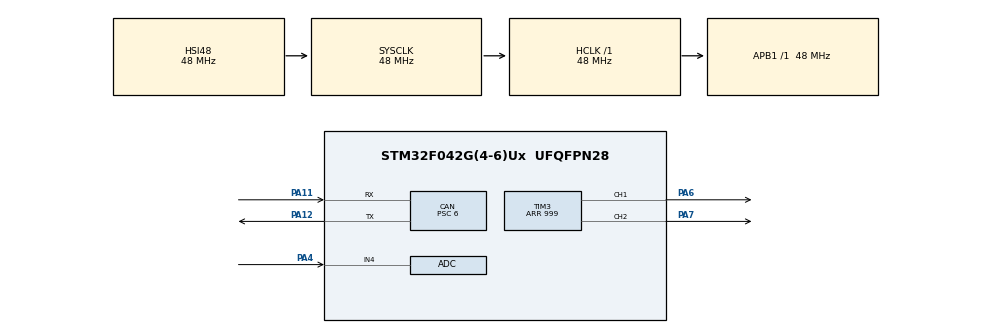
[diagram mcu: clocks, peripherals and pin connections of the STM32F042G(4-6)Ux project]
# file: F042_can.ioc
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ADC.ContinuousConvMode=ENABLE
CAN.ABOM=ENABLE
CAN.AWUM=ENABLE
CAN.BS1=CAN_BS1_13TQ
CAN.BS2=CAN_BS2_2TQ
CAN.CalculateBaudRate=500000
CAN.CalculateTimeBit=2000
CAN.CalculateTimeQuantum=125.0
CAN.Prescaler=6
Dma.ADC.0.Direction=DMA_PERIPH_TO_MEMORY
Dma.ADC.0.Instance=DMA1_Channel1
Dma.ADC.0.MemDataAlignment=DMA_MDATAALIGN_HALFWORD
Dma.ADC.0.MemInc=DMA_MINC_ENABLE
Dma.ADC.0.Mode=DMA_CIRCULAR
Dma.ADC.0.PeriphDataAlignment=DMA_PDATAALIGN_HALFWORD
Dma.ADC.0.PeriphInc=DMA_PINC_DISABLE
Dma.ADC.0.Priority=DMA_PRIORITY_LOW
Dma.Request0=ADC
Mcu.Family=STM32F0
Mcu.Name=STM32F042G(4-6)Ux
Mcu.Package=UFQFPN28
NVIC.ADC1_IRQn=true\:1\:0\:true\:false\:true\:true\:true\:true
NVIC.CEC_CAN_IRQn=true\:3\:0\:true\:false\:true\:true\:true\:true
NVIC.DMA1_Channel1_IRQn=true\:0\:0\:false\:false\:true\:false\:true\:true
NVIC.TIM17_IRQn=true\:3\:0\:true\:false\:true\:false\:true\:true
NVIC.TIM2_IRQn=true\:1\:0\:true\:false\:true\:true\:true\:true
NVIC.TimeBase=TIM17_IRQn
NVIC.TimeBaseIP=TIM17
PA11.Mode=CAN_Activate
PA11.Signal=CAN_RX
PA12.Mode=CAN_Activate
PA12.Signal=CAN_TX
PA13.Mode=Serial_Wire
PA13.Signal=SYS_SWDIO
PA14.Mode=Serial_Wire
PA14.Signal=SYS_SWCLK
PA4.Mode=IN4
PA4.Signal=ADC_IN4
PA6.Signal=S_TIM3_CH1
PA7.Signal=S_TIM3_CH2
ProjectManager.HeapSize=0x200
ProjectManager.StackSize=0x400
ProjectManager.TargetToolchain=MDK-ARM V5.32
RCC.AHBFreq_Value=48000000
RCC.APB1Freq_Value=48000000
RCC.APB1TimFreq_Value=48000000
RCC.HCLKFreq_Value=48000000
RCC.SYSCLKFreq_VALUE=48000000
RCC.SYSCLKSource=RCC_SYSCLKSOURCE_HSI48
SH.S_TIM3_CH1.0=TIM3_CH1,PWM Generation1 CH1
SH.S_TIM3_CH2.0=TIM3_CH2,PWM Generation2 CH2
TIM2.AutoReloadPreload=TIM_AUTORELOAD_PRELOAD_DISABLE
TIM2.Period=499
TIM2.Prescaler=480-1
TIM3.Channel-PWM\ Generation1\ CH1=TIM_CHANNEL_1
TIM3.Channel-PWM\ Generation2\ CH2=TIM_CHANNEL_2
TIM3.Period=999
VP_SYS_VS_PINREMAP.Mode=PINREMAP
VP_SYS_VS_tim17.Mode=TIM17
VP_TIM2_VS_ClockSourceINT.Mode=Internal
VP_TIM3_VS_ClockSourceINT.Mode=Internal
board=custom

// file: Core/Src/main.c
/* USER CODE BEGIN Header */
/**
  ******************************************************************************
  * @file           : main.c
  * @brief          : Main program body
  ******************************************************************************
  * @attention
  *
  * Copyright (c) 2024 STMicroelectronics.
  * All rights reserved.
  *
  * This software is licensed under terms that can be found in the LICENSE file
  * in the root directory of this software component.
  * If no LICENSE file comes with this software, it is provided AS-IS.
  *
  ******************************************************************************
  */
/* USER CODE END Header */
#include "main.h"
#include "adc.h"
#include "can.h"
#include "dma.h"
#include "tim.h"
#include "gpio.h"

/* USER CODE BEGIN Includes */
#include "User_montor.h"
#include "configurations.h"
#include "stmflash.h"
/* USER CODE END Includes */

/* USER CODE BEGIN PTD */
BoardConfig_t boardConfig;
/* USER CODE END PTD */

void SystemClock_Config(void);

/* USER CODE BEGIN 0 */
extern uint16_t adcData[1];

/* USER CODE END 0 */

int main(void)
{

  /* MCU Configuration--------------------------------------------------------*/

  /* Reset of all peripherals, Initializes the Flash interface and the Systick. */
  HAL_Init();

  /* Configure the system clock */
  SystemClock_Config();

  /* Initialize all configured peripherals */
  MX_GPIO_Init();
  MX_DMA_Init();
  MX_ADC_Init();
  MX_CAN_Init();
  MX_TIM3_Init();
  MX_TIM2_Init();
  /* USER CODE BEGIN 2 */
	CAN_Filterinit_And_Start();
	HAL_ADCEx_Calibration_Start(&hadc);    //AD??
	HAL_ADC_Start_DMA(&hadc, (uint32_t*)adcData, 1);
	HAL_TIM_PWM_Start(&htim3, TIM_CHANNEL_1);
	HAL_TIM_PWM_Start(&htim3, TIM_CHANNEL_2);
	__HAL_TIM_SET_COMPARE(&htim3, TIM_CHANNEL_1, 0);
	__HAL_TIM_SET_COMPARE(&htim3, TIM_CHANNEL_2, 0);
	__HAL_TIM_CLEAR_IT(&htim2,TIM_IT_UPDATE);
	HAL_TIM_Base_Start_IT(&htim2);

  read_board_config_from_flash(FLASH_SAVE_ADDR);
  if(boardConfig.configStatus != CONFIG_OK)
  {
    user_boardConfig_init();
  }
  Montor_init();
  /* USER CODE END 2 */

  /* Infinite loop */
  while (1)
  {

    /* USER CODE BEGIN 3 */
    if (boardConfig.configStatus == CONFIG_COMMIT)
    {
        boardConfig.configStatus = CONFIG_OK;
        write_board_config_to_flash(FLASH_SAVE_ADDR);
    }
    HAL_Delay(10);
  }
  /* USER CODE END 3 */
}

void SystemClock_Config(void)
{
  RCC_OscInitTypeDef RCC_OscInitStruct = {0};
  RCC_ClkInitTypeDef RCC_ClkInitStruct = {0};

  /** Initializes the RCC Oscillators according to the specified parameters
  * in the RCC_OscInitTypeDef structure.
  */
  RCC_OscInitStruct.OscillatorType = RCC_OSCILLATORTYPE_HSI14|RCC_OSCILLATORTYPE_HSI48;
  RCC_OscInitStruct.HSI48State = RCC_HSI48_ON;
  RCC_OscInitStruct.HSI14State = RCC_HSI14_ON;
  RCC_OscInitStruct.HSI14CalibrationValue = 16;
  RCC_OscInitStruct.PLL.PLLState = RCC_PLL_NONE;
  if (HAL_RCC_OscConfig(&RCC_OscInitStruct) != HAL_OK)
  {
    Error_Handler();
  }

  /** Initializes the CPU, AHB and APB buses clocks
  */
  RCC_ClkInitStruct.ClockType = RCC_CLOCKTYPE_HCLK|RCC_CLOCKTYPE_SYSCLK
                              |RCC_CLOCKTYPE_PCLK1;
  RCC_ClkInitStruct.SYSCLKSource = RCC_SYSCLKSOURCE_HSI48;
  RCC_ClkInitStruct.AHBCLKDivider = RCC_SYSCLK_DIV1;
  RCC_ClkInitStruct.APB1CLKDivider = RCC_HCLK_DIV1;

  if (HAL_RCC_ClockConfig(&RCC_ClkInitStruct, FLASH_LATENCY_1) != HAL_OK)
  {
    Error_Handler();
  }
}

/* USER CODE BEGIN 4 */
extern Motor user_motor;
extern uint16_t Can_Send_Sign;

int cn332=0;
/* USER CODE END 4 */

void HAL_TIM_PeriodElapsedCallback(TIM_HandleTypeDef *htim)
{
  /* USER CODE BEGIN Callback 0 */
  static float User_motor_angle;
  /* USER CODE END Callback 0 */
  if (htim->Instance == TIM17) {
    HAL_IncTick();
  }
  /* USER CODE BEGIN Callback 1 */
  if (htim->Instance == TIM2) {
  /* USER CODE BEGIN Motor_control */
		static int16_t montor_out_pwm;
		/* Infinite loop */
		cn332++;
		HAL_ADC_Start_DMA(&hadc, (uint32_t*)adcData, 1);
		montor_out_pwm=CalcDceOutput(&user_motor, (float)adcData[0]);
		SetPwm(&user_motor, montor_out_pwm);

    User_motor_angle=boardConfig.mechanicalAngleMin +
                      (boardConfig.mechanicalAngleMax - boardConfig.mechanicalAngleMin) *
                      ((float) adcData[0] - (float) boardConfig.adcValAtAngleMin) /
                      ((float) boardConfig.adcValAtAngleMax - (float) boardConfig.adcValAtAngleMin);

    switch (Can_Send_Sign)
    {
      case 0://默认
        CAN_data_TX(50*(boardConfig.nodeId-1)+1,User_motor_angle,boardConfig.enableMotorOnBoot);
      break;
      case 1:
        CAN_data_TX_u8(50*(boardConfig.nodeId-1)+Can_Send_Sign,boardConfig.nodeId);
      break;
      case 2:
        CAN_data_TX_float(50*(boardConfig.nodeId-1)+Can_Send_Sign,boardConfig.initPos);
      break;
      case 3:
        CAN_data_TX_float(50*(boardConfig.nodeId-1)+Can_Send_Sign,boardConfig.toqueLimit);
      break;
      case 4:
        CAN_data_TX_float(50*(boardConfig.nodeId-1)+Can_Send_Sign,boardConfig.velocityLimit);
      break;
      case 5:
        CAN_data_TX_u16(50*(boardConfig.nodeId-1)+Can_Send_Sign,boardConfig.adcValAtAngleMin);
      break;
      case 6:
        CAN_data_TX_u16(50*(boardConfig.nodeId-1)+Can_Send_Sign,boardConfig.adcValAtAngleMax);
      break;
      case 7:
        CAN_data_TX_float(50*(boardConfig.nodeId-1)+Can_Send_Sign,boardConfig.mechanicalAngleMin);
      break;
      case 8:
        CAN_data_TX_float(50*(boardConfig.nodeId-1)+Can_Send_Sign,boardConfig.mechanicalAngleMax);
      break;
      case 9:
        CAN_data_TX_float(50*(boardConfig.nodeId-1)+Can_Send_Sign,boardConfig.dceKp);
      break;
      case 10:
        CAN_data_TX_float(50*(boardConfig.nodeId-1)+Can_Send_Sign,boardConfig.dceKv);
      break;
      case 11:
        CAN_data_TX_float(50*(boardConfig.nodeId-1)+Can_Send_Sign,boardConfig.dceKi);
      break;
      case 12:
        CAN_data_TX_float(50*(boardConfig.nodeId-1)+Can_Send_Sign,boardConfig.dceKd);
      break;
      case 13:
        CAN_data_TX_u8(50*(boardConfig.nodeId-1)+Can_Send_Sign,boardConfig.enableMotorOnBoot);
      break;
      default:
      break;
    }
    if(Can_Send_Sign!=0)
    {
      Can_Send_Sign=0;
    }

		__HAL_TIM_CLEAR_IT(&htim2,TIM_IT_UPDATE);
  }
  /* USER CODE END Callback 1 */
}

void Error_Handler(void)
{
  __disable_irq();
  while (1)
  {
  }
}
